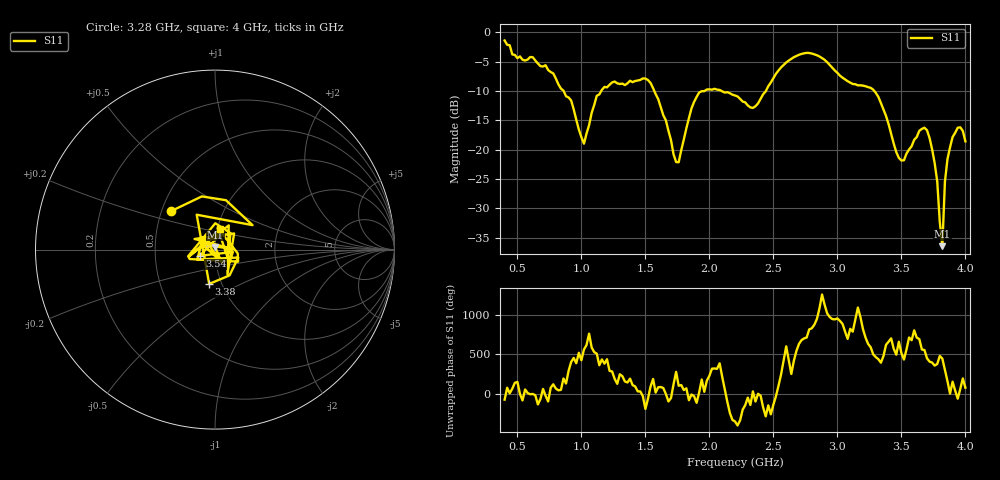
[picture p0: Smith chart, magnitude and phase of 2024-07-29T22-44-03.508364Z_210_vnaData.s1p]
!Created with skrf (http://scikit-rf.org).
# Hz S RI R 50.0
!freq ReS11 ImS11
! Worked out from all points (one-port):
!   181 points, 400 MHz to 4 GHz, reference 50 ohm
!   lowest |S11| = -36.4 dB at 3.82 GHz (marker M1), VSWR 1.03, Z = 50.1 + j1.51 ohm
!   |S11| at or under -10 dB: 1.57 GHz to 1.961 GHz (391.3 MHz wide, 22.2 % of centre); 2.096 GHz to 2.441 GHz (345.3 MHz wide, 15.2 % of centre); 3.289 GHz to end of sweep (the widest 3 of 4)
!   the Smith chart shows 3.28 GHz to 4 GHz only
!   S11 on the Smith chart (normalised r, x): 3.28 GHz: 0.56, +0.27; 3.38 GHz: 0.87, -0.35; 3.54 GHz: 0.84, -0.06; 4 GHz: 1.03, +0.24
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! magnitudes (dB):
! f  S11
! 400 MHz  -1.4
! 720 MHz  -5.6
! 860 MHz  -9.9
! 920 MHz  -11.6
! 1.02 GHz  -19.0
! 1.12 GHz  -10.8
! 1.3 GHz  -8.8
! 1.54 GHz  -8.6
! 1.76 GHz  -22.1
! 1.86 GHz  -13.0
! 1.92 GHz  -10.2
! 2.2 GHz  -10.8
! 2.34 GHz  -12.9
! 2.66 GHz  -4.2
! 2.84 GHz  -3.9
! 3.1 GHz  -8.6
! 3.28 GHz  -9.8
! 3.38 GHz  -14.2
! 3.48 GHz  -21.4
! 3.54 GHz  -20.6
! 3.56 GHz  -20.0
! 3.7 GHz  -16.7
! 3.78 GHz  -25.4
! 3.82 GHz  -36.4
! 3.84 GHz  -25.5
! 3.88 GHz  -19.6
! 3.94 GHz  -16.3
! 4 GHz  -18.6
